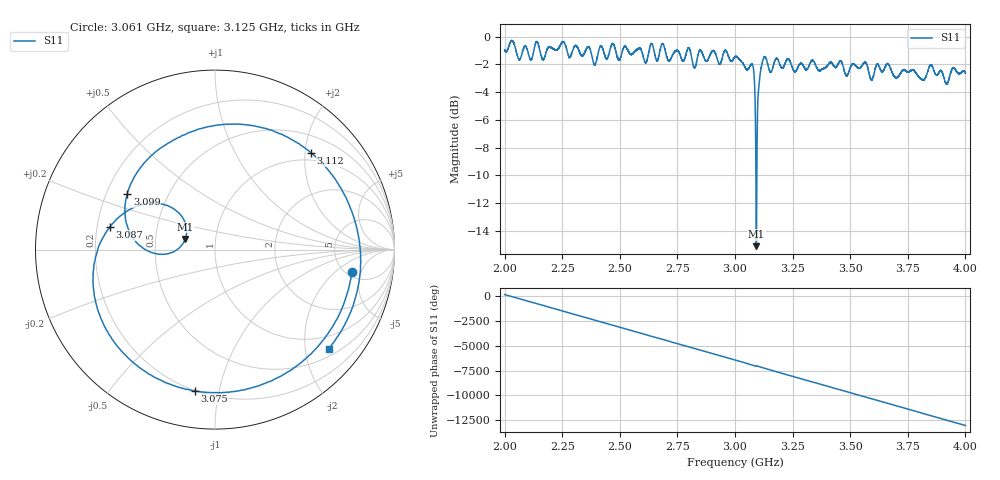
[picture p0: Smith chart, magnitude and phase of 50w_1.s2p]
!Agilent Technologies,E8362B,MY43021131,A.07.50.67
!Agilent E8362B: A.07.50.67
!Date: Thursday, March 14, 2024 13:34:43
!Correction: S11(Off)
!S21(Off)
!S12(Off)
!S22(Off)
!S2P File: Measurements: S11, S21, S12, S22:
# Hz S  RI  R 50
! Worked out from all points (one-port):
!   20001 points, 2 GHz to 4 GHz, reference 50 ohm
!   lowest |S11| = -15.1 dB at 3.093 GHz (marker M1), VSWR 1.43, Z = 35.6 + j4.32 ohm
!   |S11| at or under -10 dB: 3.09085 GHz to 3.094792 GHz (3.942 MHz wide, 0.127 % of centre)
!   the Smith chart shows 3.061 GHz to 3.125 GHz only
!   S11 on the Smith chart (normalised r, x): 3.061 GHz: 5.61, -3.42; 3.075 GHz: 0.20, -0.85; 3.087 GHz: 0.25, +0.10; 3.099 GHz: 0.29, +0.27; 3.112 GHz: 0.83, +2.13; 3.125 GHz: 0.67, -2.51
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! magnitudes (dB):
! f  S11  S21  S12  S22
! 2 GHz  -0.9  -  -  -
! 2.333 GHz  -1.3  -  -  -
! 2.667 GHz  -1.6  -  -  -
! 2.686 GHz  -0.5  -  -  -
! 3 GHz  -1.4  -  -  -
! 3.061 GHz  -2.3  -  -  -
! 3.075 GHz  -2.0  -  -  -
! 3.087 GHz  -4.4  -  -  -
! 3.093 GHz  -15.1  -  -  -
! 3.099 GHz  -4.7  -  -  -
! 3.106 GHz  -3.2  -  -  -
! 3.112 GHz  -2.4  -  -  -
! 3.125 GHz  -1.5  -  -  -
! 3.333 GHz  -1.7  -  -  -
! 3.485 GHz  -2.8  -  -  -
! 3.564 GHz  -1.8  -  -  -
! 3.593 GHz  -3.1  -  -  -
! 3.667 GHz  -2.0  -  -  -
! 3.815 GHz  -3.1  -  -  -
! 3.851 GHz  -2.0  -  -  -
! 3.918 GHz  -3.4  -  -  -
! 4 GHz  -2.6  -  -  -
